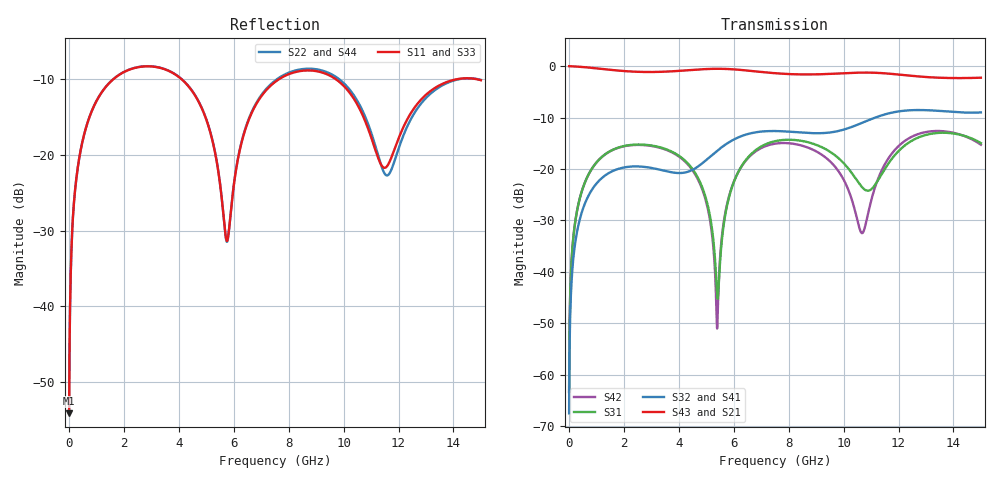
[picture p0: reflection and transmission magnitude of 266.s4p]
! Created with skrf 1.8.0 (http://scikit-rf.org).
# GHz S RI R 50.0
!freq ReS11 ImS11 ReS12 ImS12 ReS13 ImS13
! ReS14 ImS14
! ReS21 ImS21 ReS22 ImS22 ReS23 ImS23
! ReS24 ImS24
! ReS31 ImS31 ReS32 ImS32 ReS33 ImS33
! ReS34 ImS34
! ReS41 ImS41 ReS42 ImS42 ReS43 ImS43
! ReS44 ImS44
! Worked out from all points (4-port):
!   2499 points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, 5 MHz to 15 GHz, reference 50 ohm
!   strongest paths, dB at 5 MHz, 3.476 GHz, 7.19 GHz, 11.1 GHz, 15 GHz:
!     S43: 0.0, -1.1, -1.2, -1.3, -2.3
!     S21: 0.0, -1.1, -1.2, -1.3, -2.3
!     S32: -67.5, -20.4, -12.7, -10.1, -9.0
!     S41: -67.5, -20.4, -12.7, -10.1, -9.0
!     S31: -63.4, -16.0, -15.1, -23.4, -15.0
!     S42: -63.4, -16.2, -15.5, -24.4, -15.3
!   lowest |S11| = -54.2 dB at 5 MHz (marker M1), VSWR 1.00, Z = 50.2 + j0.118 ohm
!   |S11| at or under -10 dB: start of sweep to 1.604 GHz; 4.11 GHz to 7.634 GHz (3.523 GHz wide, 60 % of centre); 9.73 GHz to 14.08 GHz (4.349 GHz wide, 36.5 % of centre) (the widest 3 of 4)
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0.005  0.00156 0.00117  0.9984 -0.00303  7.99e-05 0.000674  -7.73e-05 -0.000413
       0.9984 -0.00303  0.00156 0.00117  -7.73e-05 -0.000413  7.99e-05 0.000674
       7.99e-05 0.000674  -7.73e-05 -0.000413  0.00156 0.00118  0.9984 -0.00303
       -7.73e-05 -0.000413  7.99e-05 0.000674  0.9984 -0.00303  0.00156 0.00118
0.3126303  0.0221 0.0776  0.9698 -0.189  0.0109 0.0402  -0.00894 -0.0245
           0.9698 -0.189  0.0221 0.0776  -0.00894 -0.0245  0.0108 0.0402
           0.0109 0.0402  -0.00894 -0.0245  0.0221 0.0776  0.9698 -0.189
           -0.00894 -0.0245  0.0108 0.0402  0.9698 -0.189  0.0221 0.0776
1.569404  0.2553 0.1798  0.5762 -0.712  0.1352 0.0705  -0.0941 -0.0107
          0.5762 -0.712  0.256 0.1793  -0.0942 -0.0106  0.1328 0.0735
          0.1352 0.0705  -0.0942 -0.0106  0.2552 0.1798  0.5762 -0.712
          -0.0941 -0.0107  0.1328 0.0735  0.5762 -0.712  0.2561 0.1793
5.395998  0.0414 -0.0766  -0.903 -0.2669  -0.00545 -0.0023  -0.0392 0.145
          -0.903 -0.2669  0.0405 -0.0775  -0.037 0.1456  -0.00281 -8.93e-05
          -0.00545 -0.0023  -0.037 0.1456  0.0441 -0.076  -0.9029 -0.2671
          -0.0392 0.145  -0.00281 -8.93e-05  -0.9029 -0.2671  0.038 -0.0784
6.315131  0.0692 0.1064  -0.888 0.2211  0.0632 0.0895  0.0674 0.1994
          -0.888 0.2211  0.0706 0.1072  0.0702 0.1982  0.0563 0.0931
          0.0632 0.0895  0.0702 0.1982  0.0725 0.1049  -0.8881 0.2209
          0.0674 0.1994  0.0563 0.0931  -0.8881 0.2209  0.0672 0.1082
9.035015  0.3558 -0.0414  0.0341 0.8307  0.1272 -0.1133  0.2116 -0.0666
          0.0341 0.8307  0.3646 -0.0549  0.2108 -0.0709  0.1276 -0.0724
          0.1272 -0.1133  0.2108 -0.0709  0.3548 -0.0436  0.0339 0.8309
          0.2116 -0.0666  0.1276 -0.0724  0.0339 0.8309  0.3648 -0.0522
15  0.3078 -0.0545  -0.0142 -0.7692  0.1228 -0.1293  -0.3491 0.0609
    -0.0142 -0.7692  0.3073 -0.0655  -0.3472 0.0719  0.122 -0.1213
    0.1228 -0.1293  -0.3472 0.0719  0.3014 -0.0617  -0.014 -0.7709
    -0.3491 0.0609  0.122 -0.1213  -0.014 -0.7709  0.3045 -0.0575
